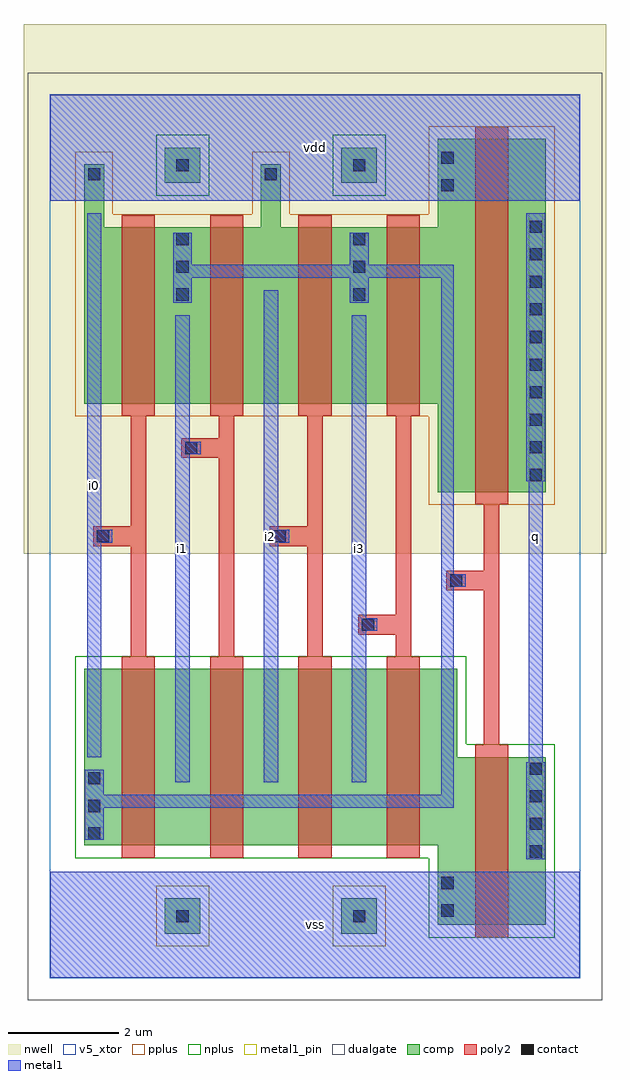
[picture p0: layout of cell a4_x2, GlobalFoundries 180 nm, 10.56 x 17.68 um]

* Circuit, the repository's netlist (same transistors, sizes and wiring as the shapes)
* a4_x2
.subckt a4_x2 vdd q vss i0 i1 i2 i3
Mp_net1_1 vdd _net1 q vdd pfet_06v0 l=0.6um w=6.4um
Mn_net1_1 vss _net1 q vss nfet_06v0 l=0.6um w=3.04um
Mp_i0_1 vdd i0 _net1 vdd pfet_06v0 l=0.6um w=3.2um
Mn_i0_1 _net1 i0 _net3 vss nfet_06v0 l=0.6um w=3.2um
Mp_i1_1 _net1 i1 vdd vdd pfet_06v0 l=0.6um w=3.2um
Mn_i1_1 _net3 i1 _net0 vss nfet_06v0 l=0.6um w=3.2um
Mp_i2_1 vdd i2 _net1 vdd pfet_06v0 l=0.6um w=3.2um
Mn_i2_1 _net0 i2 _net2 vss nfet_06v0 l=0.6um w=3.2um
Mp_i3_1 _net1 i3 vdd vdd pfet_06v0 l=0.6um w=3.2um
Mn_i3_1 _net2 i3 vss vss nfet_06v0 l=0.6um w=3.2um
.ends a4_x2

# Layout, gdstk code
import gdstk
lib = gdstk.Library(unit=1e-6, precision=1e-09)
def R(c, l, rs):  # rectangles x0, y0, x1, y1
    for r in rs: c.add(gdstk.rectangle(r[:2], r[2:], *l))
def A(c, l, x, y, w, h, nx, ny, dx, dy):  # array of equal rectangles
    R(c, l, [(x+i*dx, y+j*dy, x+i*dx+w, y+j*dy+h) for i in range(nx) for j in range(ny)])
def P(c, l, *ps):  # polygons
    for p in ps: c.add(gdstk.Polygon(p, *l))
nwell = (21, 0)
comp = (22, 0)
poly2 = (30, 0)
pplus = (31, 0)
nplus = (32, 0)
contact = (33, 0)
metal1 = (34, 0)
metal1_pin = (34, 10)
dualgate = (55, 0)
v5_xtor = (112, 1)

a4_x2 = lib.new_cell('a4_x2')
R(a4_x2, nwell, [(-0.48,7.68,10.08,17.28)])
R(a4_x2, comp, [(2.08,0.8,2.72,1.44), (5.28,0.8,5.92,1.44), (2.08,14.4,2.72,15.04), (5.28,14.4,5.92,15.04)])
P(a4_x2, comp, [(7.02,8.8),(7.02,10.4),(0.62,10.4),(0.62,14.74),(0.98,14.74),(0.98,13.6),(3.82,13.6),(3.82,14.74),(4.18,14.74),(4.18,13.6),(7.02,13.6),(7.02,15.2),(8.98,15.2),(8.98,8.8)],
  [(7.02,0.96),(7.02,2.4),(0.62,2.4),(0.62,5.6),(7.38,5.6),(7.38,4),(8.98,4),(8.98,0.96)])
P(a4_x2, poly2, [(7.7,0.74),(7.7,4.22),(7.86,4.22),(7.86,7.02),(7.18,7.02),(7.18,7.38),(7.86,7.38),(7.86,8.58),(7.7,8.58),(7.7,15.42),(8.3,15.42),(8.3,8.58),(8.14,8.58),(8.14,4.22),(8.3,4.22),(8.3,0.74)],
  [(1.3,2.18),(1.3,5.82),(1.46,5.82),(1.46,7.82),(0.78,7.82),(0.78,8.18),(1.46,8.18),(1.46,10.18),(1.3,10.18),(1.3,13.82),(1.9,13.82),(1.9,10.18),(1.74,10.18),(1.74,5.82),(1.9,5.82),(1.9,2.18)],
  [(2.9,2.18),(2.9,5.82),(3.06,5.82),(3.06,9.42),(2.38,9.42),(2.38,9.78),(3.06,9.78),(3.06,10.18),(2.9,10.18),(2.9,13.82),(3.5,13.82),(3.5,10.18),(3.34,10.18),(3.34,5.82),(3.5,5.82),(3.5,2.18)],
  [(4.5,2.18),(4.5,5.82),(4.66,5.82),(4.66,7.82),(3.98,7.82),(3.98,8.18),(4.66,8.18),(4.66,10.18),(4.5,10.18),(4.5,13.82),(5.1,13.82),(5.1,10.18),(4.94,10.18),(4.94,5.82),(5.1,5.82),(5.1,2.18)],
  [(6.1,2.18),(6.1,5.82),(6.26,5.82),(6.26,6.22),(5.58,6.22),(5.58,6.58),(6.26,6.58),(6.26,10.18),(6.1,10.18),(6.1,13.82),(6.7,13.82),(6.7,10.18),(6.54,10.18),(6.54,5.82),(6.7,5.82),(6.7,2.18)])
R(a4_x2, pplus, [(1.92,0.57,2.88,1.67), (5.12,0.57,6.08,1.67)])
P(a4_x2, pplus, [(6.86,8.57),(6.86,10.17),(0.46,10.17),(0.46,14.97),(1.14,14.97),(1.14,13.83),(3.66,13.83),(3.66,14.97),(4.34,14.97),(4.34,13.83),(6.86,13.83),(6.86,15.43),(9.14,15.43),(9.14,8.57)])
R(a4_x2, nplus, [(1.92,14.17,2.88,15.27), (5.12,14.17,6.08,15.27)])
P(a4_x2, nplus, [(6.86,0.73),(6.86,2.17),(0.46,2.17),(0.46,5.83),(7.54,5.83),(7.54,4.23),(9.14,4.23),(9.14,0.73)])
A(a4_x2, contact, 8.69, 2.18, 0.22, 0.22, 1, 4, 0, 0.5)
A(a4_x2, contact, 0.69, 2.505, 0.22, 0.22, 1, 3, 0, 0.5)
A(a4_x2, contact, 8.69, 9, 0.22, 0.22, 1, 10, 0, 0.5)
A(a4_x2, contact, 2.29, 12.27, 0.22, 0.22, 1, 3, 0, 0.5)
A(a4_x2, contact, 5.49, 12.27, 0.22, 0.22, 1, 3, 0, 0.5)
R(a4_x2, contact, [(2.29,1.01,2.51,1.23), (5.49,1.01,5.71,1.23), (7.09,1.11,7.31,1.33), (7.09,1.61,7.31,1.83), (5.65,6.29,5.87,6.51), (7.25,7.09,7.47,7.31), (0.85,7.89,1.07,8.11), (4.05,7.89,4.27,8.11), (2.45,9.49,2.67,9.71), (7.09,14.25,7.31,14.47), (0.69,14.45,0.91,14.67), (3.89,14.45,4.11,14.67), (2.29,14.61,2.51,14.83), (5.49,14.61,5.71,14.83), (7.09,14.75,7.31,14.97)])
R(a4_x2, metal1, [(0,0,9.6,1.92), (0,14.08,9.6,16)])
P(a4_x2, metal1, [(8.63,2.15),(8.63,3.905),(8.67,3.905),(8.67,8.995),(8.63,8.995),(8.63,13.85),(8.97,13.85),(8.97,8.995),(8.93,8.995),(8.93,3.905),(8.97,3.905),(8.97,2.15)],
  [(0.63,2.5),(0.63,3.77),(0.97,3.77),(0.97,3.315),(7.085,3.315),(7.085,12.685),(5.77,12.685),(5.77,12.23),(5.43,12.23),(5.43,12.685),(2.57,12.685),(2.57,12.23),(2.23,12.23),(2.23,13.495),(2.57,13.495),(2.57,12.915),(5.43,12.915),(5.43,13.495),(5.77,13.495),(5.77,12.915),(7.315,12.915),(7.315,7.315),(7.53,7.315),(7.53,7.085),(7.315,7.085),(7.315,3.085),(0.97,3.085),(0.97,2.5)],
  [(0.67,4),(0.67,13.85),(0.93,13.85),(0.93,8.115),(1.13,8.115),(1.13,7.885),(0.93,7.885),(0.93,4)],
  [(2.27,3.545),(2.27,12),(2.53,12),(2.53,9.715),(2.73,9.715),(2.73,9.485),(2.53,9.485),(2.53,3.545)],
  [(3.87,3.545),(3.87,12.455),(4.13,12.455),(4.13,8.115),(4.33,8.115),(4.33,7.885),(4.13,7.885),(4.13,3.545)],
  [(5.47,3.545),(5.47,12),(5.73,12),(5.73,6.515),(5.93,6.515),(5.93,6.285),(5.73,6.285),(5.73,3.545)])
R(a4_x2, metal1_pin, [(0,0,9.6,1.92), (8.67,2.15,8.93,13.85), (2.27,3.545,2.53,12), (3.87,3.545,4.13,12.455), (5.47,3.545,5.73,12), (0.67,4,0.93,13.85), (0,14.08,9.6,16)])
R(a4_x2, dualgate, [(-0.4,-0.4,10,16.4)])
R(a4_x2, v5_xtor, [(-0.005,-0.005,9.605,16.005)])
a4_x2.add(gdstk.Label('vdd', (4.8,15.04), layer=34, texttype=10))
a4_x2.add(gdstk.Label('q', (8.8,8), layer=34, texttype=10))
a4_x2.add(gdstk.Label('vss', (4.8,0.96), layer=34, texttype=10))
a4_x2.add(gdstk.Label('i0', (0.8,8.925), layer=34, texttype=10))
a4_x2.add(gdstk.Label('i1', (2.4,7.773), layer=34, texttype=10))
a4_x2.add(gdstk.Label('i2', (4,8), layer=34, texttype=10))
a4_x2.add(gdstk.Label('i3', (5.6,7.773), layer=34, texttype=10))

lib.write_gds('a4_x2.gds')
